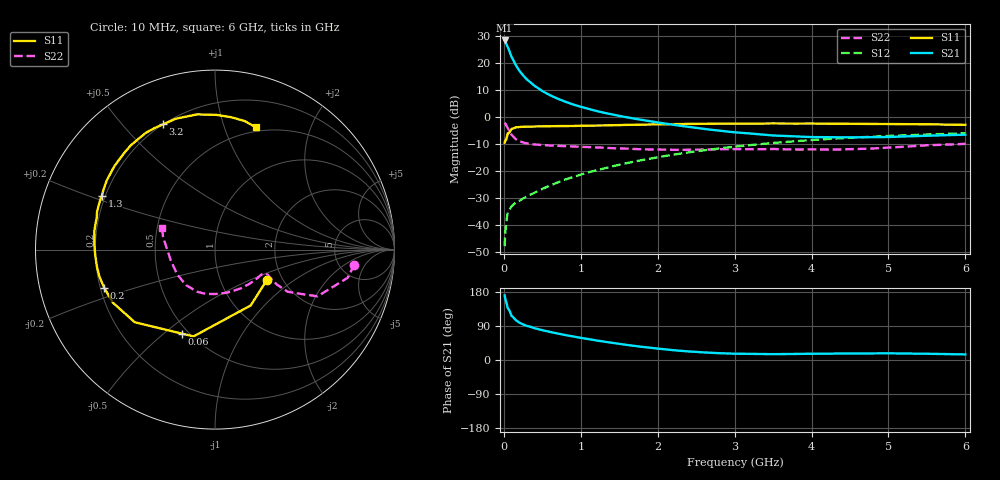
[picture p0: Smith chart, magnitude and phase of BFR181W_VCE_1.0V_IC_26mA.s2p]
! Infineon Technologies  Discrete & RF Semiconductors
! BFR181W
! VCE =  1.0 V,  IC =  26 mA
! Common Emitter S-Parameters:  Jan 2017
# GHz  S  MA  R  50
!  f  S11  S21  S12  S22
! GHz  MAG  ANG  MAG  ANG  MAG  ANG  MAG  ANG
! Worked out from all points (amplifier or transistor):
!   77 points, 10 MHz to 6 GHz, reference 50 ohm
!   highest |S21| = 28.5 dB at 10 MHz (marker M1)
!   |S21| within 3 dB of that: start of sweep to 58.79 MHz
!   unconditionally stable (mu >= 1): start of sweep to 18.43 MHz; 169.7 MHz to end of sweep
!   at 130 MHz: K = 0.85, MSG = 26.6 dB, |S12| = -32.4 dB
!   at 2.2 GHz: K = 1.42, MAG = 1.7 dB, |S12| = -14.0 dB
!   at 6 GHz: K = 1.27, MAG = -3.4 dB, |S12| = -6.0 dB
!   S11 on the Smith chart (normalised r, x): 10 MHz: 1.66, -0.63; 60 MHz: 0.46, -0.58; 200 MHz: 0.22, -0.16; 1.3 GHz: 0.19, +0.22; 3.2 GHz: 0.20, +0.65; 6 GHz: 0.46, +1.29
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0.01  0.3349 -30.2  26.48 170.6  0.004 67.8  0.7813 -6.1
0.02  0.3693 -57.4  25.27 160.3  0.0075 71.6  0.7555 -12.0
0.05  0.4982 -103.9  20.1 137.5  0.0169 55.5  0.6279 -24.5
0.06  0.5032 -111.6  18.57 134.6  0.0179 53.3  0.5957 -25.4
0.1  0.6029 -137.8  13.21 116.5  0.0219 46.5  0.4689 -30.1
0.15  0.641 -152.5  9.5 106.0  0.0255 46.0  0.3942 -29.4
0.2  0.6531 -161.0  7.314 98.9  0.0277 47.9  0.3572 -27.7
0.25  0.6612 -166.9  5.942 93.9  0.0307 50.7  0.3372 -26.4
0.3  0.6645 -171.2  4.989 90.0  0.0337 52.9  0.3238 -25.4
0.4  0.6681 -177.2  3.786 83.7  0.0394 58.3  0.3099 -25.2
0.5  0.6723 178.0  3.042 78.6  0.0463 62.2  0.3021 -26.0
0.6  0.6755 174.1  2.549 74.1  0.0536 64.6  0.2967 -27.4
0.8  0.6811 167.8  1.927 65.8  0.0694 68.9  0.2883 -31.5
1.1  0.6928 159.5  1.42 55.2  0.0942 71.4  0.277 -39.6
1.3  0.6984 154.5  1.205 48.6  0.1108 71.8  0.2697 -45.8
1.7  0.7188 144.9  0.932 37.2  0.1494 71.0  0.2553 -60.5
2.1  0.7342 135.5  0.756 28.1  0.1894 68.1  0.2477 -76.9
3.1  0.7555 114.5  0.508 16.4  0.2912 57.3  0.2531 -115.9
3.2  0.7556 112.5  0.495 16.2  0.3009 56.1  0.2524 -119.2
4.1  0.7567 95.9  0.424 16.6  0.3822 44.8  0.25 -150.5
5.1  0.7407 81.7  0.431 17.4  0.4517 32.4  0.2759 174.6
6  0.7178 71.4  0.471 14.7  0.4996 22.5  0.318 157.6
